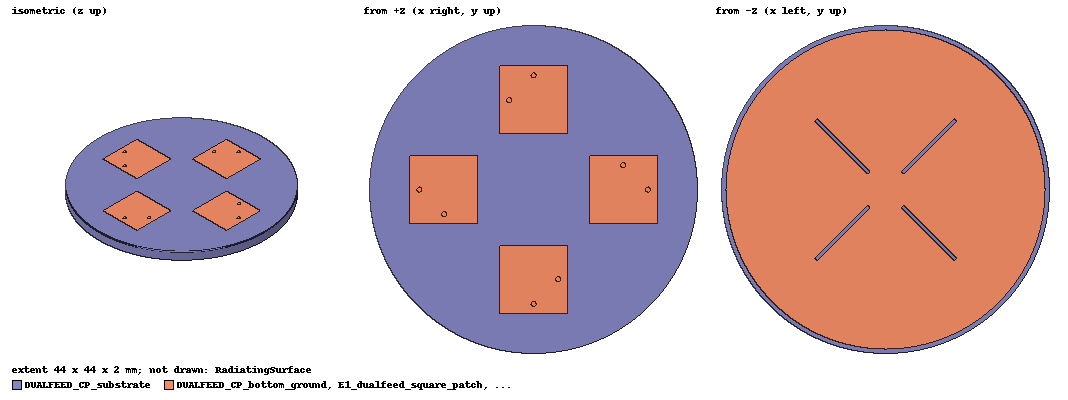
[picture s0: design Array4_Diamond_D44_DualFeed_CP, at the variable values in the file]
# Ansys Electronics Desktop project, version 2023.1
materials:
  vacuum: permittivity=1
  RO4350B_custom_D44_Topology: permittivity=3.48 permeability=1 dielectric_loss_tangent=0.0037
  copper: permeability=0.999991 conductivity=58000000
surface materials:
  Steel-oxidised-surface

design Array4_Diamond_D44_DualFeed_CP (HFSS, HFSS Modal Network, model units mm)
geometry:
  DUALFEED_CP_substrate [RO4350B_custom_D44_Topology] = cylinder(axis=Z, base_centre=(0mm, 0mm, 0mm), radius=22mm, height=2mm, segments=128)
  DUALFEED_CP_bottom_ground [copper] = circle(normal=Z, centre=(0mm, 0mm, 0mm), radius=21.4mm, segments=128)
  ground_isolation_slot_1 = polyline(z=0mm, xy in mm: (2.4112341, 2.1142493) (9.4823019, 9.1853171) (9.1853171, 9.4823019) (2.1142493, 2.4112341) (2.4112341, 2.1142493), closed, covered)
  ground_isolation_slot_2 = polyline(z=0mm, xy in mm: (-2.1142493, 2.4112341) (-9.1853171, 9.4823019) (-9.4823019, 9.1853171) (-2.4112341, 2.1142493) (-2.1142493, 2.4112341), closed, covered)
  ground_isolation_slot_3 = polyline(z=0mm, xy in mm: (-2.4112341, -2.1142493) (-9.4823019, -9.1853171) (-9.1853171, -9.4823019) (-2.1142493, -2.4112341) (-2.4112341, -2.1142493), closed, covered)
  ground_isolation_slot_4 = polyline(z=0mm, xy in mm: (2.1142493, -2.4112341) (9.1853171, -9.4823019) (9.4823019, -9.1853171) (2.4112341, -2.1142493) (2.1142493, -2.4112341), closed, covered)
  E1_dualfeed_square_patch [copper] = polyline(z=2mm, xy in mm: (7.4458153, -4.575) (16.595815, -4.575) (16.595815, 4.575) (7.4458153, 4.575) (7.4458153, -4.575), closed, covered)
  P1A_feed_pad [copper] = circle(normal=Z, centre=(15.320815mm, 0mm, 2mm), radius=0.34mm, segments=36)
  P1A_lumped_port_sheet = polyline(x=15.320815mm, yz in mm: (-0.275, 0) (0.275, 0) (0.275, 2) (-0.275, 2) (-0.275, 0), closed, covered)
  P1B_feed_pad [copper] = circle(normal=Z, centre=(12.020815mm, 3.3mm, 2mm), radius=0.34mm, segments=36)
  P1B_lumped_port_sheet = polyline(x=12.020815mm, yz in mm: (3.025, 0) (3.575, 0) (3.575, 2) (3.025, 2) (3.025, 0), closed, covered)
  E2_dualfeed_square_patch [copper] = polyline(z=2mm, xy in mm: (4.575, 7.4458153) (4.575, 16.595815) (-4.575, 16.595815) (-4.575, 7.4458153) (4.575, 7.4458153), closed, covered)
  P2A_feed_pad [copper] = circle(normal=Z, centre=(9.3812937e-16mm, 15.320815mm, 2mm), radius=0.34mm, segments=36)
  P2A_lumped_port_sheet = polyline(y=15.320815mm, xz in mm: (0.275, 0) (-0.275, 0) (-0.275, 2) (0.275, 2) (0.275, 0), closed, covered)
  P2B_feed_pad [copper] = circle(normal=Z, centre=(-3.3mm, 12.020815mm, 2mm), radius=0.34mm, segments=36)
  P2B_lumped_port_sheet = polyline(y=12.020815mm, xz in mm: (-3.025, 0) (-3.575, 0) (-3.575, 2) (-3.025, 2) (-3.025, 0), closed, covered)
  E3_dualfeed_square_patch [copper] = polyline(z=2mm, xy in mm: (-7.4458153, 4.575) (-16.595815, 4.575) (-16.595815, -4.575) (-7.4458153, -4.575) (-7.4458153, 4.575), closed, covered)
  P3A_feed_pad [copper] = circle(normal=Z, centre=(-15.320815mm, 1.8762587e-15mm, 2mm), radius=0.34mm, segments=36)
  P3A_lumped_port_sheet = polyline(x=-15.320815mm, yz in mm: (0.275, 0) (-0.275, 0) (-0.275, 2) (0.275, 2) (0.275, 0), closed, covered)
  P3B_feed_pad [copper] = circle(normal=Z, centre=(-12.020815mm, -3.3mm, 2mm), radius=0.34mm, segments=36)
  P3B_lumped_port_sheet = polyline(x=-12.020815mm, yz in mm: (-3.025, 0) (-3.575, 0) (-3.575, 2) (-3.025, 2) (-3.025, 0), closed, covered)
  E4_dualfeed_square_patch [copper] = polyline(z=2mm, xy in mm: (-4.575, -7.4458153) (-4.575, -16.595815) (4.575, -16.595815) (4.575, -7.4458153) (-4.575, -7.4458153), closed, covered)
  P4A_feed_pad [copper] = circle(normal=Z, centre=(-2.8143881e-15mm, -15.320815mm, 2mm), radius=0.34mm, segments=36)
  P4A_lumped_port_sheet = polyline(y=-15.320815mm, xz in mm: (-0.275, 0) (0.275, 0) (0.275, 2) (-0.275, 2) (-0.275, 0), closed, covered)
  P4B_feed_pad [copper] = circle(normal=Z, centre=(3.3mm, -12.020815mm, 2mm), radius=0.34mm, segments=36)
  P4B_lumped_port_sheet = polyline(y=-12.020815mm, xz in mm: (3.025, 0) (3.575, 0) (3.575, 2) (3.025, 2) (3.025, 0), closed, covered)
  DUALFEED_CP_bottom_ground.subtract(ground_isolation_slot_1..ground_isolation_slot_4)
  RadiatingSurface [vacuum] = region(absolute_offset=14.285714mm on all sides)
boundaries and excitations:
  DUALFEED_CP_PEC_metallization: Perfect E Objects=[DUALFEED_CP_bottom_ground, E1_dualfeed_square_patch, P1A_feed_pad, P1B_feed_pad, E2_dualfeed_square_patch, P2A_feed_pad, P2B_feed_pad, E3_dualfeed_square_patch, P3A_feed_pad, P3B_feed_pad, E4_dualfeed_square_patch, P4A_feed_pad, P4B_feed_pad]
  Open1: Radiation Objects=RadiatingSurface
  P1A: Lumped Port Objects=P1A_lumped_port_sheet LumpedPortType=Modal Modes{Mode1{IntLine{(15.320815, 0, 2) -> (15.320815, 0, 0)} CharImp=Zpi RenormImp=50ohm}} Impedance=50ohm
  P1B: Lumped Port Objects=P1B_lumped_port_sheet LumpedPortType=Modal Modes{Mode1{IntLine{(12.020815, 3.3, 2) -> (12.020815, 3.3, 0)} CharImp=Zpi RenormImp=50ohm}} Impedance=50ohm
  P2A: Lumped Port Objects=P2A_lumped_port_sheet LumpedPortType=Modal Modes{Mode1{IntLine{(0, 15.320815, 2) -> (0, 15.320815, 0)} CharImp=Zpi RenormImp=50ohm}} Impedance=50ohm
  P2B: Lumped Port Objects=P2B_lumped_port_sheet LumpedPortType=Modal Modes{Mode1{IntLine{(-3.3, 12.020815, 2) -> (-3.3, 12.020815, 0)} CharImp=Zpi RenormImp=50ohm}} Impedance=50ohm
  P3A: Lumped Port Objects=P3A_lumped_port_sheet LumpedPortType=Modal Modes{Mode1{IntLine{(-15.320815, 0, 2) -> (-15.320815, 0, 0)} CharImp=Zpi RenormImp=50ohm}} Impedance=50ohm
  P3B: Lumped Port Objects=P3B_lumped_port_sheet LumpedPortType=Modal Modes{Mode1{IntLine{(-12.020815, -3.3, 2) -> (-12.020815, -3.3, 0)} CharImp=Zpi RenormImp=50ohm}} Impedance=50ohm
  P4A: Lumped Port Objects=P4A_lumped_port_sheet LumpedPortType=Modal Modes{Mode1{IntLine{(0, -15.320815, 2) -> (0, -15.320815, 0)} CharImp=Zpi RenormImp=50ohm}} Impedance=50ohm
  P4B: Lumped Port Objects=P4B_lumped_port_sheet LumpedPortType=Modal Modes{Mode1{IntLine{(3.3, -12.020815, 2) -> (3.3, -12.020815, 0)} CharImp=Zpi RenormImp=50ohm}} Impedance=50ohm
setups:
  Setup_CH9: HfssDriven Frequency=8GHz MaxDeltaS=0.05 MaximumPasses=4 MinimumPasses=1 MinimumConvergedPasses=1 PercentRefinement=30 BasisOrder=1 PortAccuracy=2 DrivenSolverType="Direct Solver"
    sweep Sweep_CH9: 7.738GHz to 8.233GHz, 3 points; Type=Discrete SaveFields SaveRadFields
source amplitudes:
  P1A:1: 1W 0deg
  P1B:1, P2A:1, P2B:1, P3A:1, P3B:1, P4A:1, P4B:1: 0W 0deg
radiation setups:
  3D: Infinite Sphere Theta=0deg..180deg step 2deg Phi=-180deg..180deg step 2deg
  Elevation: Infinite Sphere Theta=-180deg..180deg step 1deg Phi=0deg..90deg step 90deg
  Azimuth: Infinite Sphere Theta=90deg..90deg step 0deg Phi=-180deg..180deg step 1deg
  Upper_Hemisphere_5deg: Infinite Sphere Theta=0deg..360deg step 5deg Phi=0deg..90deg step 5deg
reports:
  DUALFEED_CP_S_Parameters: dB(S(P3B:1,P3B:1)), dB(S(P2A:1,P2A:1)), dB(S(P1A:1,P1A:1)), dB(S(P4A:1,P4A:1)), dB(S(P1B:1,P1B:1)), dB(S(P4B:1,P4B:1)), dB(S(P3A:1,P3A:1)), dB(S(P2B:1,P2B:1)), dB(S(P3B:1,P2A:1)), dB(S(P3B:1,P1A:1)), dB(S(P3B:1,P4A:1)), dB(S(P3B:1,P1B:1)), dB(S(P3B:1,P4B:1)), dB(S(P3B:1,P3A:1)), dB(S(P3B:1,P2B:1)), dB(S(P2A:1,P3B:1)), dB(S(P2A:1,P1A:1)), dB(S(P2A:1,P4A:1)), dB(S(P2A:1,P1B:1)), dB(S(P2A:1,P4B:1)), dB(S(P2A:1,P3A:1)), dB(S(P2A:1,P2B:1)), dB(S(P1A:1,P3B:1)), dB(S(P1A:1,P2A:1)), dB(S(P1A:1,P4A:1)), dB(S(P1A:1,P1B:1)), dB(S(P1A:1,P4B:1)), dB(S(P1A:1,P3A:1)), dB(S(P1A:1,P2B:1)), dB(S(P4A:1,P3B:1)), dB(S(P4A:1,P2A:1)), dB(S(P4A:1,P1A:1)), dB(S(P4A:1,P1B:1)), dB(S(P4A:1,P4B:1)), dB(S(P4A:1,P3A:1)), dB(S(P4A:1,P2B:1)), dB(S(P1B:1,P3B:1)), dB(S(P1B:1,P2A:1)), dB(S(P1B:1,P1A:1)), dB(S(P1B:1,P4A:1))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 vs Freq on Setup_CH9 : Sweep_CH9
  DUALFEED_CP_GainTotal_8GHz: dB(GainTotal) vs Phi, Theta on Setup_CH9 : Sweep_CH9, Upper_Hemisphere_5deg [Freq=8GHz]
  DUALFEED_CP_AxialRatio_8GHz: AxialRatioValue vs Phi, Theta on Setup_CH9 : Sweep_CH9, Upper_Hemisphere_5deg [Freq=8GHz]
